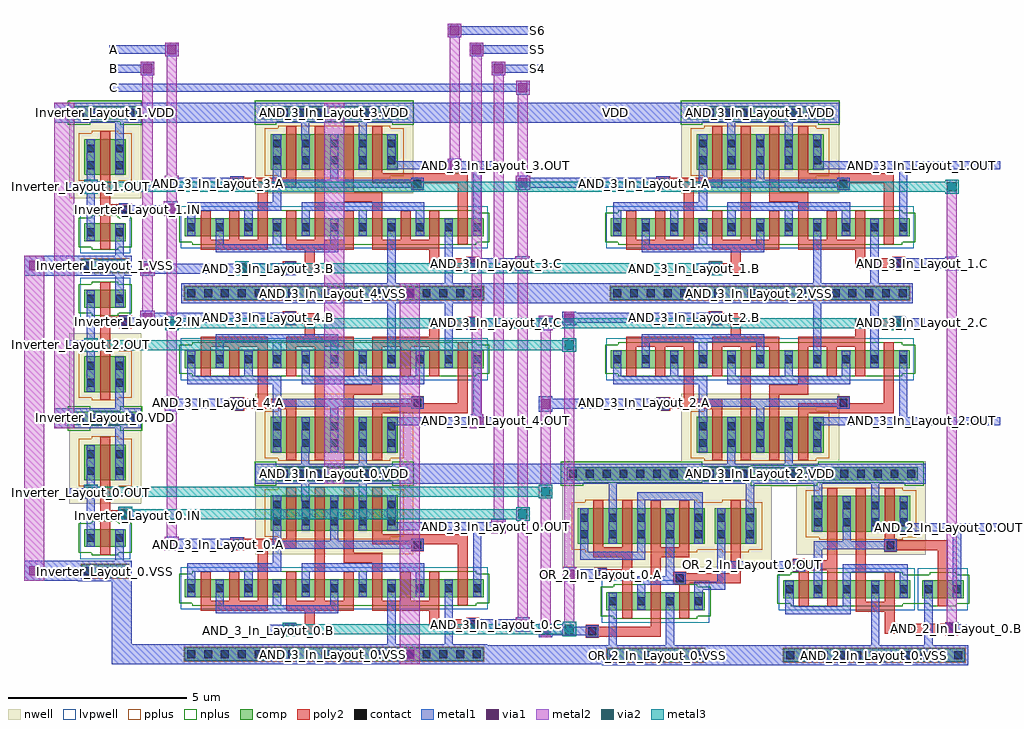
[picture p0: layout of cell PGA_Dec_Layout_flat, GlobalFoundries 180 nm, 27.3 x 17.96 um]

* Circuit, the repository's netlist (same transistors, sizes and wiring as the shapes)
* NGSPICE file created from PGA_Dec_Layout.ext - technology: gf180mcuC

.subckt nmos_3p3_JCGST2 a_n28_n94# a_132_n94# a_n132_n50# a_n276_n50# a_188_n50# a_28_n50#
+ a_n188_n94# VSUBS
X0 a_28_n50# a_n28_n94# a_n132_n50# VSUBS nfet_03v3 ad=0.13p pd=1.02u as=0.13p ps=1.02u w=0.5u l=0.28u
X1 a_n132_n50# a_n188_n94# a_n276_n50# VSUBS nfet_03v3 ad=0.13p pd=1.02u as=0.22p ps=1.88u w=0.5u l=0.28u
X2 a_188_n50# a_132_n94# a_28_n50# VSUBS nfet_03v3 ad=0.22p pd=1.88u as=0.13p ps=1.02u w=0.5u l=0.28u
.ends

.subckt nmos_3p3_GGGST2 a_n28_n94# a_n116_n50# a_28_n50# VSUBS
X0 a_28_n50# a_n28_n94# a_n116_n50# VSUBS nfet_03v3 ad=0.22p pd=1.88u as=0.22p ps=1.88u w=0.5u l=0.28u
.ends

.subckt pmos_3p3_MNVUAR w_n202_n230# a_28_n100# a_n28_n144# a_n116_n100#
X0 a_28_n100# a_n28_n144# a_n116_n100# w_n202_n230# pfet_03v3 ad=0.44p pd=2.88u as=0.44p ps=2.88u w=1u l=0.28u
.ends

.subckt AND_3_In_Layout A B C OUT VDD VSS
Xnmos_3p3_JCGST2_0 C C VSS m1_677_137# VSS m1_677_137# C VSS nmos_3p3_JCGST2
Xnmos_3p3_JCGST2_1 A A m1_197_n22# a_1072_364# m1_197_n22# a_1072_364# A VSS nmos_3p3_JCGST2
Xnmos_3p3_JCGST2_2 B B m1_677_137# m1_197_n22# m1_677_137# m1_197_n22# B VSS nmos_3p3_JCGST2
Xnmos_3p3_GGGST2_0 a_1072_364# VSS OUT VSS nmos_3p3_GGGST2
Xpmos_3p3_MNVUAR_0 VDD a_1072_364# B VDD pmos_3p3_MNVUAR
Xpmos_3p3_MNVUAR_1 VDD VDD A a_1072_364# pmos_3p3_MNVUAR
Xpmos_3p3_MNVUAR_2 VDD OUT a_1072_364# VDD pmos_3p3_MNVUAR
Xpmos_3p3_MNVUAR_3 VDD VDD C a_1072_364# pmos_3p3_MNVUAR
.ends

.subckt nmos_3p3_BGGST2 a_n52_n50# a_n196_n50# a_52_n94# a_108_n50# a_n108_n94# VSUBS
X0 a_108_n50# a_52_n94# a_n52_n50# VSUBS nfet_03v3 ad=0.22p pd=1.88u as=0.13p ps=1.02u w=0.5u l=0.28u
X1 a_n52_n50# a_n108_n94# a_n196_n50# VSUBS nfet_03v3 ad=0.13p pd=1.02u as=0.22p ps=1.88u w=0.5u l=0.28u
.ends

.subckt AND_2_In_Layout A B OUT VDD VSS
Xnmos_3p3_GGGST2_0 a_589_329# VSS OUT VSS nmos_3p3_GGGST2
Xpmos_3p3_MNVUAR_0 VDD OUT a_589_329# VDD pmos_3p3_MNVUAR
Xnmos_3p3_BGGST2_0 VSS m1_37_n22# B m1_37_n22# B VSS nmos_3p3_BGGST2
Xpmos_3p3_MNVUAR_1 VDD a_589_329# A VDD pmos_3p3_MNVUAR
Xnmos_3p3_BGGST2_1 a_589_329# m1_37_n22# A m1_37_n22# A VSS nmos_3p3_BGGST2
Xpmos_3p3_MNVUAR_2 VDD VDD B a_589_329# pmos_3p3_MNVUAR
.ends

.subckt pmos_3p3_MEVUAR a_n196_n100# a_n52_n100# w_n282_n230# a_108_n100# a_52_n144#
+ a_n108_n144#
X0 a_n52_n100# a_n108_n144# a_n196_n100# w_n282_n230# pfet_03v3 ad=0.26p pd=1.52u as=0.44p ps=2.88u w=1u l=0.28u
X1 a_108_n100# a_52_n144# a_n52_n100# w_n282_n230# pfet_03v3 ad=0.44p pd=2.88u as=0.26p ps=1.52u w=1u l=0.28u
.ends

.subckt OR_2_In_Layout OUT VDD VSS A B
Xpmos_3p3_MEVUAR_0 m1_99_350# a_622_212# VDD m1_99_350# B B pmos_3p3_MEVUAR
Xpmos_3p3_MEVUAR_1 m1_99_350# VDD VDD m1_99_350# A A pmos_3p3_MEVUAR
Xnmos_3p3_GGGST2_0 a_622_212# VSS OUT VSS nmos_3p3_GGGST2
Xnmos_3p3_GGGST2_1 A VSS a_622_212# VSS nmos_3p3_GGGST2
Xnmos_3p3_GGGST2_2 B a_622_212# VSS VSS nmos_3p3_GGGST2
Xpmos_3p3_MNVUAR_0 VDD VDD a_622_212# OUT pmos_3p3_MNVUAR
.ends

.subckt Inverter_Layout IN OUT VSS VDD
Xnmos_3p3_GGGST2_0 IN VSS OUT VSS nmos_3p3_GGGST2
Xpmos_3p3_MNVUAR_0 VDD OUT IN VDD pmos_3p3_MNVUAR
.ends

.subckt PGA_Dec_Layout A B C S1 S3 S2 S6 S5 S4 VDD VSS
XAND_3_In_Layout_0 A OR_2_In_Layout_0/A C S4 VDD VSS AND_3_In_Layout
XAND_3_In_Layout_1 C B AND_3_In_Layout_1/C S2 VDD VSS AND_3_In_Layout
XAND_2_In_Layout_0 AND_2_In_Layout_0/A AND_3_In_Layout_1/C S1 VDD VSS AND_2_In_Layout
XAND_3_In_Layout_2 OR_2_In_Layout_0/B OR_2_In_Layout_0/A A S3 VDD VSS AND_3_In_Layout
XAND_3_In_Layout_3 A B C S6 VDD VSS AND_3_In_Layout
XAND_3_In_Layout_4 A B OR_2_In_Layout_0/B S5 VDD VSS AND_3_In_Layout
XOR_2_In_Layout_0 AND_2_In_Layout_0/A VDD VSS OR_2_In_Layout_0/A OR_2_In_Layout_0/B
+ OR_2_In_Layout
XInverter_Layout_1 A AND_3_In_Layout_1/C VSS VDD Inverter_Layout
XInverter_Layout_0 C OR_2_In_Layout_0/B VSS VDD Inverter_Layout
XInverter_Layout_2 B OR_2_In_Layout_0/A VSS VDD Inverter_Layout
.ends

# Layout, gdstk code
import gdstk
lib = gdstk.Library(unit=1e-6, precision=1e-09)
def R(c, l, rs):  # rectangles x0, y0, x1, y1
    for r in rs: c.add(gdstk.rectangle(r[:2], r[2:], *l))
def A(c, l, x, y, w, h, nx, ny, dx, dy):  # array of equal rectangles
    R(c, l, [(x+i*dx, y+j*dy, x+i*dx+w, y+j*dy+h) for i in range(nx) for j in range(ny)])
nwell = (21, 0)
comp = (22, 0)
poly2 = (30, 0)
pplus = (31, 0)
nplus = (32, 0)
contact = (33, 0)
metal1 = (34, 0)
via1 = (35, 0)
metal2 = (36, 0)
via2 = (38, 0)
metal3 = (42, 0)
lvpwell = (204, 0)

pga_dec_layout_flat = lib.new_cell('PGA_Dec_Layout_flat')
R(pga_dec_layout_flat, nwell, [(14.565,-7.38,20.425,-5.115), (21.11,-7.04,24.73,-5.115), (5.975,-7.015,10.395,-2.525), (0.765,-5.605,2.785,-0.835), (14.565,-5.115,24.73,-4.425), (17.89,-4.425,22.31,-2.525), (0.765,2.945,2.785,5.675), (5.975,3.085,10.395,5.675), (17.89,3.085,22.31,5.675)])
R(pga_dec_layout_flat, comp, [(15.82,-10.03,18.53,-9.67), (20.76,-10.03,25.825,-9.67), (4.005,-10,12.36,-9.64), (15.795,-8.59,18.555,-8.09), (20.74,-8.25,24.3,-7.75), (24.63,-8.25,25.79,-7.75), (4.005,-8.225,12.365,-7.725), (1.125,-7.675,2.425,-7.315), (1.195,-6.815,2.355,-6.315), (14.995,-6.73,18.555,-5.73), (18.835,-6.73,19.995,-5.73), (21.54,-6.39,24.3,-5.39), (6.405,-6.365,9.965,-5.365), (1.195,-4.955,2.355,-3.955), (6.125,-4.95,10.245,-4.59), (14.685,-4.95,24.51,-4.59), (6.405,-4.175,9.965,-3.175), (18.32,-4.175,21.88,-3.175), (0.89,-3.4,2.66,-3.04), (1.195,-2.485,2.355,-1.485), (4.005,-1.815,12.365,-1.315), (15.92,-1.815,24.28,-1.315), (1.195,-0.125,2.355,0.375), (4.005,0.1,12.36,0.46), (15.92,0.1,24.275,0.46), (1.125,0.875,2.425,1.235), (1.195,1.735,2.355,2.235), (4.005,1.875,12.365,2.375), (15.92,1.875,24.28,2.375), (1.195,3.595,2.355,4.595), (6.405,3.735,9.965,4.735), (18.32,3.735,21.88,4.735), (0.89,5.15,2.66,5.51), (6.125,5.15,10.245,5.51), (18.04,5.15,22.16,5.51)])
A(pga_dec_layout_flat, poly2, 4.445, -8.605, 1.88, 0.28, 3, 2, 2.4, 7.39)
A(pga_dec_layout_flat, poly2, 5.245, -8.325, 0.28, 0.82, 4, 2, 1.6, 6.29)
A(pga_dec_layout_flat, poly2, 15.435, -6.83, 0.28, 1.32, 4, 1, 0.8, 0)
A(pga_dec_layout_flat, poly2, 17.16, -2.035, 0.28, 0.82, 4, 2, 1.6, 3.81)
A(pga_dec_layout_flat, poly2, 16.36, -1.215, 1.88, 0.28, 3, 2, 2.4, 2.71)
A(pga_dec_layout_flat, poly2, 4.445, 1.495, 1.88, 0.28, 3, 1, 2.4, 0)
A(pga_dec_layout_flat, poly2, 5.245, 1.775, 0.28, 0.82, 4, 1, 1.6, 0)
R(pga_dec_layout_flat, poly2, [(15.225,-9.35,15.585,-9.33), (15.225,-9.33,17.315,-9.05), (6.75,-9.32,7.12,-9.255), (25.285,-9.28,25.645,-9.24), (6.75,-9.255,7.64,-8.975), (23.58,-9.24,25.645,-8.96), (11.88,-9.16,12.245,-9.12), (10.845,-9.12,12.245,-8.84), (15.225,-9.05,15.585,-8.99), (17.035,-9.05,17.315,-7.11), (6.75,-8.975,7.12,-8.93), (7.36,-8.975,7.64,-8.605), (23.58,-8.96,23.86,-8.63), (25.285,-8.96,25.645,-8.92), (10.845,-8.84,11.125,-8.605), (11.88,-8.84,12.245,-8.795), (16.235,-8.81,16.515,-7.725), (17.835,-8.81,18.115,-7.87), (22.78,-8.63,23.86,-8.35), (21.18,-8.47,21.46,-7.505), (21.98,-8.47,22.26,-7.465), (25.07,-8.47,25.35,-6.905), (11.645,-8.445,11.925,-6.745), (22.78,-8.35,23.06,-5.17), (23.58,-8.35,23.86,-7.505), (4.445,-8.325,4.725,-7.505), (6.045,-8.325,6.325,-6.865), (7.645,-8.325,7.925,-5.145), (9.245,-8.325,9.525,-7.265), (10.845,-8.325,11.125,-7.505), (17.675,-7.87,18.115,-7.83), (17.675,-7.83,19.555,-7.55), (15.455,-7.765,15.815,-7.725), (15.455,-7.725,16.515,-7.445), (17.675,-7.55,18.035,-7.51), (19.275,-7.55,19.555,-5.51), (21.015,-7.505,21.46,-7.465), (21.015,-7.465,22.26,-7.185), (15.455,-7.445,15.815,-7.405), (16.235,-7.445,16.515,-7.11), (8.445,-7.265,9.525,-6.985), (21.015,-7.185,21.375,-7.145), (21.98,-7.185,22.26,-5.17), (15.435,-7.11,16.515,-6.83), (17.035,-7.11,18.115,-6.83), (1.635,-7.035,1.915,-6.065), (8.445,-6.985,8.725,-5.145), (23.565,-6.945,23.925,-6.905), (10.335,-6.935,10.695,-6.745), (5.28,-6.905,5.67,-6.865), (23.565,-6.905,25.35,-6.625), (5.28,-6.865,7.125,-6.585), (9.245,-6.745,11.925,-6.465), (23.565,-6.625,23.925,-6.585), (5.28,-6.585,5.67,-6.54), (6.845,-6.585,7.125,-5.145), (23.58,-6.585,23.86,-5.17), (9.245,-6.465,9.525,-5.145), (2.155,-6.105,2.515,-6.065), (1.635,-6.065,2.515,-5.785), (1.635,-5.785,1.915,-3.735), (2.155,-5.785,2.515,-5.745), (6.845,-4.395,7.125,-2.955), (7.645,-4.395,7.925,-1.215), (8.445,-4.395,8.725,-2.555), (9.245,-4.395,9.525,-3.075), (18.76,-4.395,19.04,-2.955), (19.56,-4.395,19.84,-1.215), (20.36,-4.395,20.64,-2.555), (21.16,-4.395,21.44,-3.075), (9.245,-3.075,11.925,-2.795), (21.16,-3.075,23.84,-2.795), (5.28,-3,5.67,-2.955), (17.195,-3,17.585,-2.955), (5.28,-2.955,7.125,-2.675), (17.195,-2.955,19.04,-2.675), (10.335,-2.795,10.695,-2.605), (11.645,-2.795,11.925,-1.095), (22.25,-2.795,22.61,-2.605), (23.56,-2.795,23.84,-1.095), (1.635,-2.705,1.915,-0.655), (5.28,-2.675,5.67,-2.635), (6.045,-2.675,6.325,-1.215), (17.195,-2.675,17.585,-2.635), (17.96,-2.675,18.24,-1.215), (8.445,-2.555,9.525,-2.275), (20.36,-2.555,21.44,-2.275), (9.245,-2.275,9.525,-1.215), (21.16,-2.275,21.44,-1.215), (4.445,-2.035,4.725,-1.215), (10.845,-2.035,11.125,-1.215), (16.36,-2.035,16.64,-1.215), (22.76,-2.035,23.04,-1.215), (7.36,-0.935,7.64,-0.565), (10.845,-0.935,11.125,-0.7), (19.275,-0.935,19.555,-0.565), (22.76,-0.935,23.04,-0.7), (11.88,-0.745,12.245,-0.7), (23.795,-0.745,24.16,-0.7), (10.845,-0.7,12.245,-0.42), (22.76,-0.7,24.16,-0.42), (2.155,-0.695,2.515,-0.655), (1.635,-0.655,2.515,-0.375), (6.75,-0.61,7.12,-0.565), (18.665,-0.61,19.035,-0.565), (6.75,-0.565,7.64,-0.285), (18.665,-0.565,19.555,-0.285), (11.88,-0.42,12.245,-0.38), (23.795,-0.42,24.16,-0.38), (1.635,-0.375,1.915,0.595), (2.155,-0.375,2.515,-0.335), (6.75,-0.285,7.12,-0.22), (18.665,-0.285,19.035,-0.22), (6.75,0.78,7.12,0.845), (18.665,0.78,19.035,0.845), (6.75,0.845,7.64,1.125), (18.665,0.845,19.555,1.125), (11.88,0.94,12.245,0.98), (23.795,0.94,24.16,0.98), (10.845,0.98,12.245,1.26), (22.76,0.98,24.16,1.26), (6.75,1.125,7.12,1.17), (7.36,1.125,7.64,1.495), (18.665,1.125,19.035,1.17), (19.275,1.125,19.555,1.495), (10.845,1.26,11.125,1.495), (11.88,1.26,12.245,1.305), (22.76,1.26,23.04,1.495), (23.795,1.26,24.16,1.305), (1.635,1.515,1.915,2.485), (11.645,1.655,11.925,3.355), (23.56,1.655,23.84,3.355), (4.445,1.775,4.725,2.595), (6.045,1.775,6.325,3.235), (7.645,1.775,7.925,4.955), (9.245,1.775,9.525,2.835), (10.845,1.775,11.125,2.595), (16.36,1.775,16.64,2.595), (17.96,1.775,18.24,3.235), (19.56,1.775,19.84,4.955), (21.16,1.775,21.44,2.835), (22.76,1.775,23.04,2.595), (2.155,2.445,2.515,2.485), (1.635,2.485,2.515,2.765), (1.635,2.765,1.915,4.815), (2.155,2.765,2.515,2.805), (8.445,2.835,9.525,3.115), (20.36,2.835,21.44,3.115), (8.445,3.115,8.725,4.955), (20.36,3.115,20.64,4.955), (10.335,3.165,10.695,3.355), (22.25,3.165,22.61,3.355), (5.28,3.195,5.67,3.235), (17.195,3.195,17.585,3.235), (5.28,3.235,7.125,3.515), (17.195,3.235,19.04,3.515), (9.245,3.355,11.925,3.635), (21.16,3.355,23.84,3.635), (5.28,3.515,5.67,3.56), (6.845,3.515,7.125,4.955), (17.195,3.515,17.585,3.56), (18.76,3.515,19.04,4.955), (9.245,3.635,9.525,4.955), (21.16,3.635,21.44,4.955)])
R(pga_dec_layout_flat, pplus, [(15.79,-10.06,18.56,-9.64), (20.73,-10.06,25.85,-9.64), (3.975,-10.03,12.385,-9.61), (1.095,-7.705,2.455,-7.285), (15.205,-6.96,18.345,-6.89), (19.045,-6.96,19.785,-6.89), (14.835,-6.89,20.155,-5.57), (21.75,-6.62,24.09,-6.55), (6.615,-6.595,9.755,-6.525), (21.38,-6.55,24.46,-5.23), (6.245,-6.525,10.125,-5.205), (15.205,-5.57,18.345,-5.5), (19.045,-5.57,19.785,-5.5), (21.75,-5.23,24.09,-5.16), (6.615,-5.205,9.755,-5.135), (1.405,-5.185,2.145,-5.115), (1.035,-5.115,2.515,-3.795), (6.615,-4.405,9.755,-4.335), (18.53,-4.405,21.67,-4.335), (6.245,-4.335,10.125,-3.015), (18.16,-4.335,22.04,-3.015), (1.405,-3.795,2.145,-3.725), (6.615,-3.015,9.755,-2.945), (18.53,-3.015,21.67,-2.945), (1.405,-2.715,2.145,-2.645), (1.035,-2.645,2.515,-1.325), (1.405,-1.325,2.145,-1.255), (3.975,0.07,12.385,0.49), (15.89,0.07,24.3,0.49), (1.095,0.845,2.455,1.265), (1.405,3.365,2.145,3.435), (1.035,3.435,2.515,4.755), (6.615,3.505,9.755,3.575), (18.53,3.505,21.67,3.575), (6.245,3.575,10.125,4.895), (18.16,3.575,22.04,4.895), (1.405,4.755,2.145,4.825), (6.615,4.895,9.755,4.965), (18.53,4.895,21.67,4.965)])
R(pga_dec_layout_flat, nplus, [(16.005,-8.82,18.345,-8.75), (15.635,-8.75,18.715,-7.93), (20.95,-8.48,24.09,-8.41), (24.84,-8.48,25.58,-8.41), (4.215,-8.455,12.155,-8.385), (20.58,-8.41,25.95,-7.59), (3.845,-8.385,12.525,-7.565), (16.005,-7.93,18.345,-7.86), (20.95,-7.59,24.09,-7.52), (24.84,-7.59,25.58,-7.52), (4.215,-7.565,12.155,-7.495), (1.405,-7.045,2.145,-6.975), (1.035,-6.975,2.515,-6.155), (1.405,-6.155,2.145,-6.085), (5.965,-5.11,6.565,-4.98), (9.805,-5.11,10.405,-4.98), (14.525,-5.11,15.155,-5.015), (19.835,-5.11,21.7,-5.015), (24.14,-5.11,24.67,-5.015), (14.525,-5.015,18.48,-4.98), (19.835,-5.015,24.67,-4.98), (5.965,-4.98,10.405,-4.56), (14.525,-4.98,24.67,-4.56), (5.965,-4.56,6.565,-4.43), (9.805,-4.56,10.405,-4.43), (14.525,-4.56,18.48,-4.43), (19.835,-4.56,24.67,-4.525), (21.72,-4.525,24.67,-4.43), (0.73,-3.56,1.355,-3.43), (2.195,-3.56,2.82,-3.43), (0.73,-3.43,2.82,-3.01), (0.73,-3.01,1.355,-2.88), (2.195,-3.01,2.82,-2.88), (4.215,-2.045,12.155,-1.975), (16.13,-2.045,24.07,-1.975), (3.845,-1.975,12.525,-1.155), (15.76,-1.975,24.44,-1.155), (4.215,-1.155,12.155,-1.085), (16.13,-1.155,24.07,-1.085), (1.405,-0.355,2.145,-0.285), (1.035,-0.285,2.515,0.535), (1.405,0.535,2.145,0.605), (1.405,1.505,2.145,1.575), (1.035,1.575,2.515,2.395), (4.215,1.645,12.155,1.715), (16.13,1.645,24.07,1.715), (3.845,1.715,12.525,2.535), (15.76,1.715,24.44,2.535), (1.405,2.395,2.145,2.465), (4.215,2.535,12.155,2.605), (16.13,2.535,24.07,2.605), (0.73,4.99,1.355,5.085), (2.195,4.99,2.82,5.085), (5.965,4.99,6.565,5.085), (9.805,4.99,10.405,5.085), (17.88,4.99,18.48,5.085), (21.72,4.99,22.32,5.085), (0.73,5.085,2.82,5.67), (5.965,5.085,10.405,5.67), (17.88,5.085,22.32,5.67)])
A(pga_dec_layout_flat, contact, 15.89, -9.96, 0.22, 0.22, 6, 1, 0.47, 0)
A(pga_dec_layout_flat, contact, 20.83, -9.96, 0.22, 0.22, 11, 1, 0.47, 0)
A(pga_dec_layout_flat, contact, 4.075, -9.93, 0.22, 0.22, 18, 2, 0.47, 10.1)
A(pga_dec_layout_flat, contact, 15.865, -8.45, 0.22, 0.22, 4, 1, 0.8, 0)
A(pga_dec_layout_flat, contact, 20.81, -8.11, 0.22, 0.22, 5, 1, 0.8, 0)
A(pga_dec_layout_flat, contact, 4.075, -8.085, 0.22, 0.22, 11, 2, 0.8, 6.41)
A(pga_dec_layout_flat, contact, 1.195, -7.605, 0.22, 0.22, 3, 2, 0.47, 8.55)
A(pga_dec_layout_flat, contact, 15.065, -6.575, 0.22, 0.22, 5, 2, 0.8, 0.47)
A(pga_dec_layout_flat, contact, 21.61, -6.235, 0.22, 0.22, 4, 2, 0.8, 0.47)
A(pga_dec_layout_flat, contact, 6.475, -6.21, 0.22, 0.22, 5, 2, 0.8, 0.47)
A(pga_dec_layout_flat, contact, 6.195, -4.88, 0.22, 0.22, 9, 2, 0.47, 10.1)
A(pga_dec_layout_flat, contact, 14.755, -4.88, 0.22, 0.22, 7, 1, 0.47, 0)
A(pga_dec_layout_flat, contact, 18.11, -4.88, 0.22, 0.22, 14, 1, 0.47, 0)
A(pga_dec_layout_flat, contact, 6.475, -4.02, 0.22, 0.22, 5, 2, 0.8, 0.47)
A(pga_dec_layout_flat, contact, 18.39, -4.02, 0.22, 0.22, 5, 2, 0.8, 0.47)
A(pga_dec_layout_flat, contact, 0.96, -3.33, 0.22, 0.22, 4, 2, 0.47, 8.55)
A(pga_dec_layout_flat, contact, 15.99, -1.675, 0.22, 0.22, 11, 2, 0.8, 3.69)
A(pga_dec_layout_flat, contact, 15.99, 0.17, 0.22, 0.22, 18, 1, 0.47, 0)
A(pga_dec_layout_flat, contact, 4.075, 2.015, 0.22, 0.22, 11, 1, 0.8, 0)
A(pga_dec_layout_flat, contact, 6.475, 3.89, 0.22, 0.22, 5, 2, 0.8, 0.47)
A(pga_dec_layout_flat, contact, 18.39, 3.89, 0.22, 0.22, 5, 2, 0.8, 0.47)
A(pga_dec_layout_flat, contact, 18.11, 5.22, 0.22, 0.22, 9, 1, 0.47, 0)
R(pga_dec_layout_flat, contact, [(15.295,-9.28,15.515,-9.06), (6.825,-9.235,7.045,-9.015), (25.355,-9.21,25.575,-8.99), (11.95,-9.09,12.17,-8.87), (24.7,-8.11,24.92,-7.89), (25.5,-8.11,25.72,-7.89), (17.745,-7.8,17.965,-7.58), (15.525,-7.695,15.745,-7.475), (21.085,-7.435,21.305,-7.215), (23.635,-6.875,23.855,-6.655), (10.405,-6.865,10.625,-6.645), (5.35,-6.835,5.57,-6.615), (1.265,-6.675,1.485,-6.455), (2.065,-6.675,2.285,-6.455), (18.905,-6.575,19.125,-6.355), (19.705,-6.575,19.925,-6.355), (18.905,-6.105,19.125,-5.885), (19.705,-6.105,19.925,-5.885), (2.225,-6.035,2.445,-5.815), (1.265,-4.8,1.485,-4.58), (2.065,-4.8,2.285,-4.58), (1.265,-4.33,1.485,-4.11), (2.065,-4.33,2.285,-4.11), (5.35,-2.93,5.57,-2.71), (17.265,-2.93,17.485,-2.71), (10.405,-2.895,10.625,-2.675), (22.32,-2.895,22.54,-2.675), (1.265,-2.33,1.485,-2.11), (2.065,-2.33,2.285,-2.11), (1.265,-1.86,1.485,-1.64), (2.065,-1.86,2.285,-1.64), (11.95,-0.675,12.17,-0.455), (23.865,-0.675,24.085,-0.455), (2.225,-0.625,2.445,-0.405), (6.825,-0.525,7.045,-0.305), (18.74,-0.525,18.96,-0.305), (1.265,0.015,1.485,0.235), (2.065,0.015,2.285,0.235), (6.825,0.865,7.045,1.085), (18.74,0.865,18.96,1.085), (11.95,1.01,12.17,1.23), (23.865,1.01,24.085,1.23), (1.265,1.875,1.485,2.095), (2.065,1.875,2.285,2.095), (2.225,2.515,2.445,2.735), (10.405,3.235,10.625,3.455), (22.32,3.235,22.54,3.455), (5.35,3.265,5.57,3.485), (17.265,3.265,17.485,3.485), (1.265,3.75,1.485,3.97), (2.065,3.75,2.285,3.97), (1.265,4.22,1.485,4.44), (2.065,4.22,2.285,4.44)])
A(pga_dec_layout_flat, metal1, 4.87, -8.445, 0.23, 0.71, 3, 2, 1.6, 6.64)
A(pga_dec_layout_flat, metal1, 4.07, -8.215, 0.23, 0.71, 5, 2, 1.6, 6.18)
A(pga_dec_layout_flat, metal1, 15.985, -2.035, 0.23, 0.71, 5, 2, 1.6, 3.92)
A(pga_dec_layout_flat, metal1, 16.785, -1.805, 0.23, 0.71, 3, 2, 1.6, 3.46)
A(pga_dec_layout_flat, metal1, 4.87, 1.655, 0.23, 0.71, 3, 1, 1.6, 0)
A(pga_dec_layout_flat, metal1, 4.07, 1.885, 0.23, 0.71, 5, 1, 1.6, 0)
R(pga_dec_layout_flat, metal1, [(15.675,-10.13,25.925,-10.1), (1.965,-10.1,25.925,-9.57), (1.965,-9.57,12.46,-9.54), (15.86,-9.57,16.09,-8.1), (17.46,-9.57,17.69,-8.1), (23.205,-9.57,23.435,-7.76), (24.695,-9.57,24.925,-7.76), (1.965,-9.54,2.525,-7.775), (9.67,-9.54,9.9,-7.735), (11.27,-9.54,11.5,-7.735), (13.91,-9.34,14.29,-9.285), (15.235,-9.34,15.575,-9.285), (6.81,-9.31,7.11,-9.27), (13.91,-9.285,15.575,-9.055), (6.3,-9.27,7.11,-8.99), (25.295,-9.27,25.635,-9.215), (25.295,-9.215,25.88,-8.985), (13.26,-9.185,13.66,-9.125), (11.89,-9.15,12.18,-9.125), (11.89,-9.125,13.66,-8.845), (13.91,-9.055,14.29,-8.96), (15.235,-9.055,15.575,-9), (6.81,-8.99,7.11,-8.94), (25.295,-8.985,25.635,-8.93), (11.89,-8.845,12.18,-8.805), (13.26,-8.845,13.66,-8.785), (20.805,-8.7,22.635,-8.47), (4.87,-8.675,8.3,-8.445), (16.66,-8.58,16.89,-7.87), (18.26,-8.58,18.49,-8.02), (20.805,-8.47,21.035,-7.76), (22.405,-8.47,22.635,-7.53), (21.605,-8.24,21.835,-6.88), (24.005,-8.24,24.235,-7.53), (25.495,-8.24,25.725,-6.38), (12.07,-8.215,12.3,-6.355), (18.26,-8.02,19.13,-7.79), (16.66,-7.87,17.69,-7.86), (16.66,-7.86,18.025,-7.64), (18.9,-7.79,19.13,-7.44), (14.575,-7.78,14.965,-7.725), (1.025,-7.775,2.525,-7.765), (-0.495,-7.765,2.525,-7.205), (15.465,-7.755,15.805,-7.725), (14.575,-7.725,15.805,-7.445), (17.46,-7.64,18.025,-7.52), (22.405,-7.53,24.235,-7.3), (17.46,-7.52,17.69,-5.74), (4.07,-7.505,6.7,-7.275), (7.27,-7.505,10.7,-7.275), (21.025,-7.495,21.365,-7.44), (14.575,-7.445,14.965,-7.39), (15.465,-7.445,15.805,-7.415), (18.9,-7.44,21.365,-7.21), (6.47,-7.275,6.7,-6.87), (18.9,-7.21,19.13,-5.74), (21.025,-7.21,21.365,-7.155), (2.06,-7.205,2.29,-6.325), (15.06,-7.18,16.89,-6.95), (15.06,-6.95,15.29,-5.74), (16.66,-6.95,16.89,-5.51), (23.575,-6.935,23.915,-6.88), (3.44,-6.925,3.84,-6.865), (10.345,-6.925,10.685,-6.87), (5.28,-6.895,5.635,-6.865), (21.605,-6.88,23.915,-6.65), (6.47,-6.87,10.685,-6.64), (3.44,-6.865,5.635,-6.585), (1.26,-6.805,1.49,-5.47), (15.86,-6.72,16.09,-5.05), (18.26,-6.72,18.49,-5.51), (19.7,-6.72,19.93,-5.05), (22.405,-6.65,22.635,-5.4), (23.575,-6.65,23.915,-6.595), (6.47,-6.64,6.7,-5.375), (8.07,-6.64,8.3,-5.375), (10.345,-6.64,10.685,-6.585), (3.44,-6.585,3.84,-6.525), (5.28,-6.585,5.635,-6.55), (12.58,-6.44,12.98,-6.355), (21.605,-6.38,21.835,-5.05), (23.205,-6.38,23.435,-5.05), (24.005,-6.38,26.81,-6.15), (7.27,-6.355,7.5,-5.52), (8.87,-6.355,9.1,-5.05), (9.67,-6.355,12.98,-6.125), (24.005,-6.15,24.235,-5.4), (9.67,-6.125,9.9,-5.375), (12.58,-6.125,12.98,-6.04), (2.135,-6.095,2.535,-6.04), (2.135,-6.04,2.775,-5.81), (2.135,-5.81,2.535,-5.695), (7.26,-5.52,7.5,-5.375), (16.66,-5.51,18.49,-5.28), (1.175,-5.47,1.575,-5.405), (0.775,-5.405,1.575,-5.175), (7.26,-5.375,7.49,-5.05), (1.175,-5.175,1.575,-5.07), (1.26,-5.07,1.49,-3.965), (5.975,-5.05,24.73,-4.49), (2.06,-4.945,2.29,-3.5), (7.26,-4.49,7.49,-4.165), (8.87,-4.49,9.1,-3.185), (19.175,-4.49,19.405,-4.165), (20.785,-4.49,21.015,-3.185), (6.47,-4.165,6.7,-2.9), (7.26,-4.165,7.5,-4.02), (8.07,-4.165,8.3,-2.9), (9.67,-4.165,9.9,-3.415), (18.385,-4.165,18.615,-2.9), (19.175,-4.165,19.415,-4.02), (19.985,-4.165,20.215,-2.9), (21.585,-4.165,21.815,-3.415), (7.27,-4.02,7.5,-3.185), (19.185,-4.02,19.415,-3.185), (0.345,-3.5,2.785,-2.94), (11.975,-3.49,12.355,-3.415), (9.67,-3.415,12.8,-3.185), (21.585,-3.415,26.81,-3.185), (11.975,-3.185,12.355,-3.11), (23.985,-3.185,24.215,-1.325), (12.07,-3.11,12.3,-1.325), (13.91,-3.03,14.29,-2.955), (3.44,-3.015,3.84,-2.955), (5.28,-2.99,5.635,-2.955), (17.195,-2.99,17.55,-2.955), (3.44,-2.955,5.635,-2.675), (10.345,-2.955,10.685,-2.9), (13.91,-2.955,17.55,-2.675), (22.26,-2.955,22.6,-2.9), (2.06,-2.94,2.29,-1.495), (6.47,-2.9,10.685,-2.67), (18.385,-2.9,22.6,-2.67), (3.44,-2.675,3.84,-2.615), (5.28,-2.675,5.635,-2.645), (13.91,-2.675,14.29,-2.6), (17.195,-2.675,17.55,-2.645), (6.47,-2.67,6.7,-2.265), (10.345,-2.67,10.685,-2.615), (18.385,-2.67,18.615,-2.265), (22.26,-2.67,22.6,-2.615), (1.26,-2.475,1.49,-1.36), (4.07,-2.265,6.7,-2.035), (7.27,-2.265,10.7,-2.035), (15.985,-2.265,18.615,-2.035), (19.185,-2.265,22.615,-2.035), (9.67,-1.805,9.9,0), (11.27,-1.805,11.5,0), (21.585,-1.805,21.815,0), (23.185,-1.805,23.415,0), (1.185,-1.36,1.565,-1.265), (0.775,-1.265,1.565,-1.035), (4.87,-1.095,8.3,-0.865), (16.785,-1.095,20.215,-0.865), (1.185,-1.035,1.565,-0.98), (1.26,-0.98,1.49,0.365), (23.775,-0.76,24.175,-0.695), (13.9,-0.755,14.3,-0.695), (11.89,-0.735,12.18,-0.695), (11.89,-0.695,14.3,-0.415), (23.775,-0.695,24.7,-0.415), (2.165,-0.685,2.505,-0.63), (2.07,-0.63,2.91,-0.61), (2.07,-0.61,3.16,-0.55), (14.57,-0.61,14.95,-0.55), (6.81,-0.6,7.11,-0.55), (18.725,-0.6,19.025,-0.55), (2.07,-0.55,7.11,-0.4), (14.57,-0.55,19.025,-0.27), (11.89,-0.415,12.18,-0.39), (13.9,-0.415,14.3,-0.355), (23.775,-0.415,24.175,-0.36), (2.165,-0.4,2.505,-0.345), (2.76,-0.4,7.11,-0.27), (2.76,-0.27,3.16,-0.21), (6.81,-0.27,7.11,-0.23), (14.57,-0.27,14.95,-0.23), (18.725,-0.27,19.025,-0.23), (2.06,-0.115,2.29,0.775), (3.905,0,24.375,0.56), (9.67,0.56,9.9,2.365), (11.27,0.56,11.5,2.365), (21.585,0.56,21.815,2.365), (23.185,0.56,23.415,2.365), (2.76,0.77,3.16,0.83), (-0.495,0.775,2.525,1.335), (5.41,0.79,5.79,0.83), (6.81,0.79,7.11,0.83), (18.725,0.79,19.025,0.83), (2.76,0.83,7.11,1.11), (18.215,0.83,19.025,1.11), (13.255,0.915,13.66,0.975), (25.28,0.925,25.66,0.975), (11.89,0.95,12.18,0.975), (23.805,0.95,24.095,0.975), (11.89,0.975,13.66,1.255), (23.805,0.975,25.66,1.255), (2.76,1.11,3.16,1.17), (5.41,1.11,5.79,1.17), (6.81,1.11,7.11,1.16), (18.725,1.11,19.025,1.16), (11.89,1.255,12.18,1.295), (13.255,1.255,13.66,1.315), (23.805,1.255,24.095,1.295), (25.28,1.255,25.66,1.305), (2.06,1.335,2.29,2.225), (4.87,1.425,8.3,1.655), (16.785,1.425,20.215,1.655), (1.26,1.745,1.49,3.07), (12.07,1.885,12.3,3.745), (23.985,1.885,24.215,3.745), (3.41,2.45,3.81,2.51), (2.165,2.455,2.505,2.51), (2.07,2.51,3.81,2.74), (4.07,2.595,6.7,2.825), (7.27,2.595,10.7,2.825), (15.985,2.595,18.615,2.825), (19.185,2.595,22.615,2.825), (2.165,2.74,2.505,2.795), (3.41,2.74,3.81,2.85), (6.47,2.825,6.7,3.23), (18.385,2.825,18.615,3.23), (1.185,3.07,1.565,3.145), (0.775,3.145,1.565,3.375), (3.44,3.175,3.84,3.235), (10.345,3.175,10.685,3.23), (13.26,3.175,13.665,3.235), (22.26,3.175,22.6,3.23), (5.28,3.205,5.635,3.235), (17.195,3.205,17.55,3.235), (6.47,3.23,10.685,3.46), (18.385,3.23,22.6,3.46), (3.44,3.235,5.635,3.515), (13.26,3.235,17.55,3.515), (1.185,3.375,1.565,3.45), (1.26,3.45,1.49,4.585), (6.47,3.46,6.7,4.725), (8.07,3.46,8.3,4.725), (10.345,3.46,10.685,3.515), (18.385,3.46,18.615,4.725), (19.985,3.46,20.215,4.725), (22.26,3.46,22.6,3.515), (5.28,3.515,5.635,3.55), (13.26,3.515,13.665,3.575), (17.195,3.515,17.55,3.55), (2.06,3.605,2.29,5.05), (11.36,3.67,11.74,3.745), (7.27,3.745,7.5,4.58), (8.87,3.745,9.1,5.05), (9.67,3.745,12.8,3.975), (19.185,3.745,19.415,4.58), (20.785,3.745,21.015,5.05), (21.585,3.745,26.81,3.975), (9.67,3.975,9.9,4.725), (11.36,3.975,11.74,4.05), (21.585,3.975,21.815,4.725), (7.26,4.58,7.5,4.725), (19.175,4.58,19.415,4.725), (7.26,4.725,7.49,5.05), (19.175,4.725,19.405,5.05), (0.345,5.05,22.31,5.61), (13.27,5.84,13.65,5.915), (1.885,5.915,13.65,6.145), (13.27,6.145,13.65,6.22), (2.77,6.375,3.15,6.45), (12.59,6.375,12.97,6.45), (1.885,6.45,3.15,6.68), (12.59,6.45,13.995,6.68), (2.77,6.68,3.15,6.755), (12.59,6.68,12.97,6.755), (3.45,6.91,3.83,6.985), (11.975,6.91,12.355,6.985), (1.885,6.985,3.83,7.215), (11.975,6.985,13.995,7.215), (3.45,7.215,3.83,7.29), (11.975,7.215,12.355,7.29), (11.36,7.445,11.74,7.52), (11.36,7.52,13.995,7.75), (11.36,7.75,11.74,7.825)])
R(pga_dec_layout_flat, via1, [(10.165,-9.95,10.425,-9.69), (13.97,-9.28,14.23,-9.02), (6.805,-9.255,7.065,-8.995), (25.335,-9.23,25.595,-8.97), (13.33,-9.115,13.59,-8.855), (14.635,-7.715,14.895,-7.455), (-0.345,-7.615,-0.085,-7.355), (3.51,-6.855,3.77,-6.595), (12.65,-6.37,12.91,-6.11), (2.205,-6.025,2.465,-5.765), (1.245,-5.4,1.505,-5.14), (8.055,-4.9,8.315,-4.64), (12.035,-3.43,12.295,-3.17), (0.495,-3.35,0.755,-3.09), (3.51,-2.945,3.77,-2.685), (13.97,-2.945,14.23,-2.685), (1.245,-1.3,1.505,-1.04), (23.845,-0.69,24.105,-0.43), (13.97,-0.685,14.23,-0.425), (14.63,-0.55,14.89,-0.29), (2.83,-0.54,3.09,-0.28), (10.165,0.15,10.425,0.41), (2.83,0.84,3.09,1.1), (18.72,0.845,18.98,1.105), (5.47,0.85,5.73,1.11), (-0.345,0.925,-0.085,1.185), (13.325,0.985,13.585,1.245), (25.335,0.985,25.595,1.245), (3.48,2.52,3.74,2.78), (1.245,3.13,1.505,3.39), (3.51,3.245,3.77,3.505), (13.33,3.245,13.59,3.505), (11.42,3.73,11.68,3.99), (0.495,5.2,0.755,5.46), (8.055,5.2,8.315,5.46), (13.33,5.9,13.59,6.16), (2.83,6.435,3.09,6.695), (12.65,6.435,12.91,6.695), (3.51,6.97,3.77,7.23), (12.035,6.97,12.295,7.23), (11.42,7.505,11.68,7.765)])
R(pga_dec_layout_flat, metal2, [(10.015,-10.1,10.575,0.56), (13.96,-9.34,14.24,-5.46), (6.745,-9.315,7.125,-8.935), (14.57,-9.315,14.95,-8.935), (25.325,-9.29,25.605,3.45), (13.26,-9.185,13.66,-8.785), (14.62,-8.935,14.9,-7.78), (13.32,-8.785,13.6,-6.085), (14.575,-7.78,14.965,-7.39), (-0.495,-7.765,0.065,1.335), (14.62,-7.39,14.9,-1.36), (3.44,-6.925,3.84,-6.525), (3.5,-6.525,3.78,-3.015), (12.58,-6.44,12.98,-6.04), (2.135,-6.095,2.535,-5.695), (13.27,-6.085,13.65,-5.705), (12.64,-6.04,12.92,6.375), (13.32,-5.705,13.6,0.915), (1.175,-5.47,1.575,-5.07), (13.91,-5.46,14.29,-5.08), (13.96,-5.08,14.24,-0.755), (7.905,-5.05,8.465,5.61), (0.345,-3.5,0.905,5.61), (11.975,-3.49,12.355,-3.11), (12.025,-3.11,12.305,6.91), (3.44,-3.015,3.84,-2.615), (3.5,-2.615,3.78,-0.75), (1.185,-1.36,1.565,-0.98), (14.57,-1.36,14.95,-0.98), (14.62,-0.98,14.9,-0.23), (13.9,-0.755,14.3,-0.355), (3.45,-0.75,3.83,-0.37), (23.785,-0.75,24.165,-0.37), (2.76,-0.61,3.16,-0.21), (3.5,-0.37,3.78,2.45), (2.82,-0.21,3.1,0.77), (2.76,0.77,3.16,1.17), (18.66,0.785,19.04,1.165), (5.41,0.79,5.79,1.17), (13.255,0.915,13.66,1.315), (2.82,1.17,3.1,6.375), (13.32,1.315,13.6,3.175), (3.41,2.45,3.81,2.85), (3.5,2.85,3.78,3.175), (1.185,3.07,1.565,3.45), (3.44,3.175,3.84,3.575), (13.26,3.175,13.665,3.575), (3.5,3.575,3.78,6.91), (13.32,3.575,13.6,5.84), (11.36,3.67,11.74,4.05), (11.41,4.05,11.69,7.445), (13.27,5.84,13.65,6.22), (2.77,6.375,3.15,6.755), (12.59,6.375,12.97,6.755), (3.45,6.91,3.83,7.29), (11.975,6.91,12.355,7.29), (11.36,7.445,11.74,7.825)])
R(pga_dec_layout_flat, via2, [(6.805,-9.255,7.065,-8.995), (14.63,-9.255,14.89,-8.995), (2.205,-6.025,2.465,-5.765), (13.33,-6.025,13.59,-5.765), (1.245,-5.4,1.505,-5.14), (13.97,-5.4,14.23,-5.14), (1.245,-1.3,1.505,-1.04), (14.63,-1.3,14.89,-1.04), (3.51,-0.69,3.77,-0.43), (23.845,-0.69,24.105,-0.43), (18.72,0.845,18.98,1.105), (5.47,0.855,5.73,1.115), (1.245,3.13,1.505,3.39), (25.335,3.13,25.595,3.39)])
R(pga_dec_layout_flat, metal3, [(6.745,-9.315,7.125,-9.265), (14.57,-9.315,14.95,-9.265), (6.745,-9.265,14.95,-8.985), (6.745,-8.985,7.125,-8.935), (14.57,-8.985,14.95,-8.905), (2.135,-6.095,2.535,-6.035), (13.27,-6.085,13.65,-6.035), (2.135,-6.035,13.65,-5.755), (2.135,-5.755,2.535,-5.695), (13.27,-5.755,13.65,-5.705), (1.185,-5.46,1.565,-5.41), (13.91,-5.46,14.29,-5.41), (1.185,-5.41,14.29,-5.13), (1.185,-5.13,1.565,-5.08), (13.91,-5.13,14.29,-5.08), (1.185,-1.36,1.565,-1.31), (14.57,-1.36,14.95,-1.31), (1.185,-1.31,14.95,-1.03), (1.185,-1.03,1.565,-0.98), (14.57,-1.03,14.95,-0.98), (3.45,-0.75,3.83,-0.7), (23.785,-0.75,24.165,-0.7), (3.45,-0.7,24.165,-0.42), (3.45,-0.42,3.83,-0.37), (23.785,-0.42,24.165,-0.37), (18.66,0.785,19.04,0.835), (5.41,0.79,5.79,0.835), (5.41,0.835,19.04,1.115), (5.41,1.115,5.79,1.17), (11.17,1.115,11.945,1.12), (18.66,1.115,19.04,1.165), (1.185,3.07,1.565,3.12), (25.275,3.07,25.655,3.12), (1.185,3.12,25.655,3.4), (1.185,3.4,1.565,3.45), (25.275,3.4,25.655,3.45)])
R(pga_dec_layout_flat, lvpwell, [(15.675,-8.93,18.675,-7.75), (20.62,-8.59,24.42,-7.41), (24.51,-8.59,25.91,-7.41), (3.885,-8.565,12.485,-7.385), (1.075,-7.155,2.475,-5.975), (3.885,-2.155,12.485,-0.975), (15.8,-2.155,24.4,-0.975), (1.075,-0.465,2.475,0.715), (1.075,1.395,2.475,2.575), (3.885,1.535,12.485,2.715), (15.8,1.535,24.4,2.715)])
pga_dec_layout_flat.add(gdstk.Label('AND_3_In_Layout_0.B', (6.35,-9.14), layer=34, texttype=0))
pga_dec_layout_flat.add(gdstk.Label('AND_3_In_Layout_0.OUT', (12.685,-6.255), layer=34, texttype=0))
pga_dec_layout_flat.add(gdstk.Label('AND_3_In_Layout_0.VDD', (8.185,-4.77), layer=34, texttype=0))
pga_dec_layout_flat.add(gdstk.Label('AND_3_In_Layout_0.VSS', (8.175,-9.82), layer=22, texttype=0))
pga_dec_layout_flat.add(gdstk.Label('AND_3_In_Layout_0.C', (12.735,-8.995), layer=34, texttype=0))
pga_dec_layout_flat.add(gdstk.Label('AND_3_In_Layout_0.A', (4.95,-6.755), layer=34, texttype=0))
pga_dec_layout_flat.add(gdstk.Label('AND_3_In_Layout_4.B', (6.35,-0.4), layer=34, texttype=0))
pga_dec_layout_flat.add(gdstk.Label('AND_3_In_Layout_4.OUT', (12.685,-3.285), layer=34, texttype=0))
pga_dec_layout_flat.add(gdstk.Label('AND_3_In_Layout_4.VDD', (8.185,-4.77), layer=34, texttype=0))
pga_dec_layout_flat.add(gdstk.Label('AND_3_In_Layout_4.VSS', (8.175,0.28), layer=22, texttype=0))
pga_dec_layout_flat.add(gdstk.Label('AND_3_In_Layout_4.C', (12.735,-0.545), layer=34, texttype=0))
pga_dec_layout_flat.add(gdstk.Label('AND_3_In_Layout_4.A', (4.95,-2.785), layer=34, texttype=0))
pga_dec_layout_flat.add(gdstk.Label('Inverter_Layout_0.VSS', (1.775,-7.495), layer=34, texttype=0))
pga_dec_layout_flat.add(gdstk.Label('Inverter_Layout_0.VDD', (1.775,-3.205), layer=34, texttype=0))
pga_dec_layout_flat.add(gdstk.Label('Inverter_Layout_0.IN', (2.675,-5.925), layer=34, texttype=0))
pga_dec_layout_flat.add(gdstk.Label('Inverter_Layout_0.OUT', (1.08,-5.29), layer=34, texttype=0))
pga_dec_layout_flat.add(gdstk.Label('AND_3_In_Layout_2.B', (18.265,-0.4), layer=34, texttype=0))
pga_dec_layout_flat.add(gdstk.Label('AND_3_In_Layout_2.OUT', (24.6,-3.285), layer=34, texttype=0))
pga_dec_layout_flat.add(gdstk.Label('AND_3_In_Layout_2.VDD', (20.1,-4.77), layer=34, texttype=0))
pga_dec_layout_flat.add(gdstk.Label('AND_3_In_Layout_2.VSS', (20.09,0.28), layer=22, texttype=0))
pga_dec_layout_flat.add(gdstk.Label('AND_3_In_Layout_2.C', (24.65,-0.545), layer=34, texttype=0))
pga_dec_layout_flat.add(gdstk.Label('AND_3_In_Layout_2.A', (16.865,-2.785), layer=34, texttype=0))
pga_dec_layout_flat.add(gdstk.Label('OR_2_In_Layout_0.VDD', (17.45,-4.77), layer=34, texttype=0))
pga_dec_layout_flat.add(gdstk.Label('OR_2_In_Layout_0.VSS', (17.215,-9.85), layer=34, texttype=0))
pga_dec_layout_flat.add(gdstk.Label('OR_2_In_Layout_0.A', (15.635,-7.585), layer=34, texttype=0))
pga_dec_layout_flat.add(gdstk.Label('OR_2_In_Layout_0.OUT', (19.885,-7.32), layer=34, texttype=0))
pga_dec_layout_flat.add(gdstk.Label('OR_2_In_Layout_0.B', (15.405,-9.17), layer=34, texttype=0))
pga_dec_layout_flat.add(gdstk.Label('AND_2_In_Layout_0.A', (20.975,-7.325), layer=34, texttype=0))
pga_dec_layout_flat.add(gdstk.Label('AND_2_In_Layout_0.OUT', (25.745,-6.265), layer=34, texttype=0))
pga_dec_layout_flat.add(gdstk.Label('AND_2_In_Layout_0.VDD', (22.92,-4.77), layer=34, texttype=0))
pga_dec_layout_flat.add(gdstk.Label('AND_2_In_Layout_0.VSS', (23.29,-9.85), layer=34, texttype=0))
pga_dec_layout_flat.add(gdstk.Label('AND_2_In_Layout_0.B', (25.81,-9.1), layer=34, texttype=0))
pga_dec_layout_flat.add(gdstk.Label('AND_3_In_Layout_3.B', (6.35,0.96), layer=34, texttype=0))
pga_dec_layout_flat.add(gdstk.Label('AND_3_In_Layout_3.OUT', (12.685,3.845), layer=34, texttype=0))
pga_dec_layout_flat.add(gdstk.Label('AND_3_In_Layout_3.VDD', (8.185,5.33), layer=34, texttype=0))
pga_dec_layout_flat.add(gdstk.Label('AND_3_In_Layout_3.VSS', (8.175,0.28), layer=22, texttype=0))
pga_dec_layout_flat.add(gdstk.Label('AND_3_In_Layout_3.C', (12.735,1.105), layer=34, texttype=0))
pga_dec_layout_flat.add(gdstk.Label('AND_3_In_Layout_3.A', (4.95,3.345), layer=34, texttype=0))
pga_dec_layout_flat.add(gdstk.Label('Inverter_Layout_1.VSS', (1.775,1.055), layer=34, texttype=0))
pga_dec_layout_flat.add(gdstk.Label('Inverter_Layout_1.VDD', (1.775,5.345), layer=34, texttype=0))
pga_dec_layout_flat.add(gdstk.Label('Inverter_Layout_1.IN', (2.675,2.625), layer=34, texttype=0))
pga_dec_layout_flat.add(gdstk.Label('Inverter_Layout_1.OUT', (1.08,3.26), layer=34, texttype=0))
pga_dec_layout_flat.add(gdstk.Label('Inverter_Layout_2.VSS', (1.775,1.055), layer=34, texttype=0))
pga_dec_layout_flat.add(gdstk.Label('Inverter_Layout_2.VDD', (1.775,-3.235), layer=34, texttype=0))
pga_dec_layout_flat.add(gdstk.Label('Inverter_Layout_2.IN', (2.675,-0.515), layer=34, texttype=0))
pga_dec_layout_flat.add(gdstk.Label('Inverter_Layout_2.OUT', (1.08,-1.15), layer=34, texttype=0))
pga_dec_layout_flat.add(gdstk.Label('AND_3_In_Layout_1.B', (18.265,0.96), layer=34, texttype=0))
pga_dec_layout_flat.add(gdstk.Label('AND_3_In_Layout_1.OUT', (24.6,3.845), layer=34, texttype=0))
pga_dec_layout_flat.add(gdstk.Label('AND_3_In_Layout_1.VDD', (20.1,5.33), layer=34, texttype=0))
pga_dec_layout_flat.add(gdstk.Label('AND_3_In_Layout_1.VSS', (20.09,0.28), layer=22, texttype=0))
pga_dec_layout_flat.add(gdstk.Label('AND_3_In_Layout_1.C', (24.65,1.105), layer=34, texttype=0))
pga_dec_layout_flat.add(gdstk.Label('AND_3_In_Layout_1.A', (16.865,3.345), layer=34, texttype=0))
pga_dec_layout_flat.add(gdstk.Label('A', (2,7.1), layer=34, texttype=10))
pga_dec_layout_flat.add(gdstk.Label('B', (2,6.565), layer=34, texttype=10))
pga_dec_layout_flat.add(gdstk.Label('C', (2,6.03), layer=34, texttype=10))
pga_dec_layout_flat.add(gdstk.Label('S1', (26.695,-6.265), layer=34, texttype=10))
pga_dec_layout_flat.add(gdstk.Label('S3', (26.695,-3.3), layer=34, texttype=10))
pga_dec_layout_flat.add(gdstk.Label('S2', (26.695,3.86), layer=34, texttype=10))
pga_dec_layout_flat.add(gdstk.Label('S6', (13.88,7.635), layer=34, texttype=10))
pga_dec_layout_flat.add(gdstk.Label('S5', (13.88,7.1), layer=34, texttype=10))
pga_dec_layout_flat.add(gdstk.Label('S4', (13.88,6.565), layer=34, texttype=10))
pga_dec_layout_flat.add(gdstk.Label('VDD', (16.045,5.33), layer=34, texttype=10))
pga_dec_layout_flat.add(gdstk.Label('VSS', (15.07,-9.82), layer=34, texttype=10))

lib.write_gds('PGA_Dec_Layout_flat.gds')
